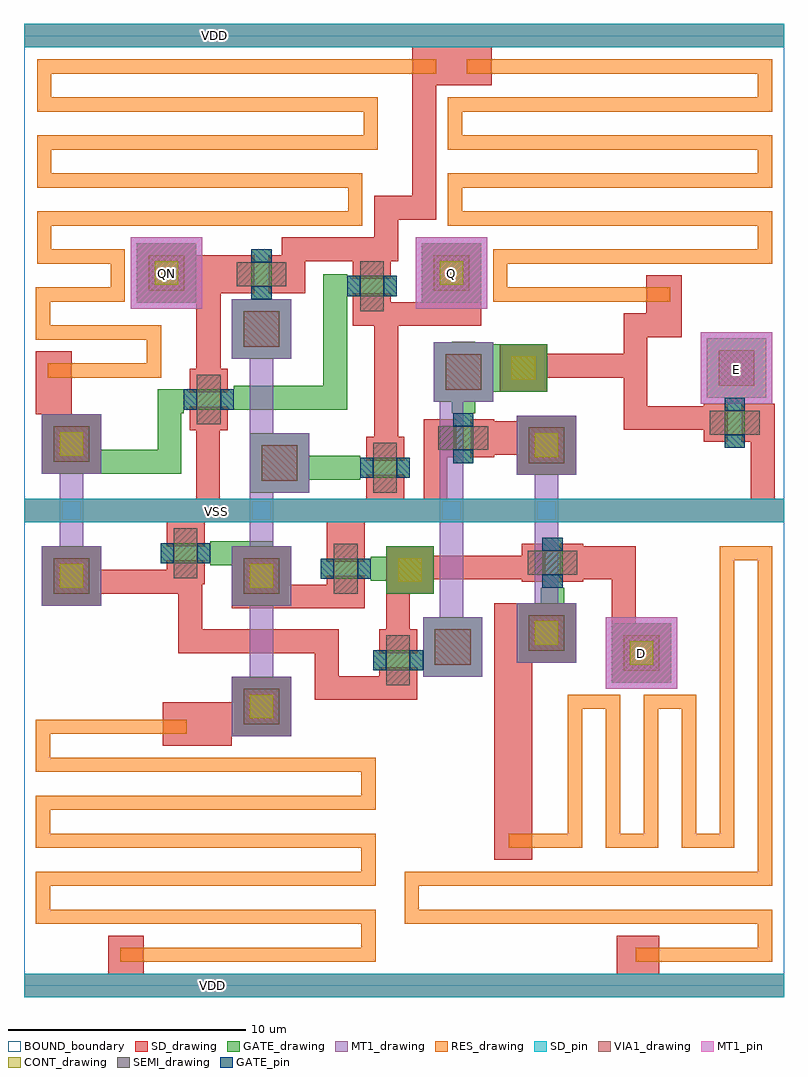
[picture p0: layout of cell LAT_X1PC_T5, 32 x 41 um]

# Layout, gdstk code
from math import pi, radians
import gdstk
lib = gdstk.Library(unit=1e-6, precision=1e-09)
def R(c, l, rs):  # rectangles x0, y0, x1, y1
    for r in rs: c.add(gdstk.rectangle(r[:2], r[2:], *l))
def A(c, l, x, y, w, h, nx, ny, dx, dy):  # array of equal rectangles
    R(c, l, [(x+i*dx, y+j*dy, x+i*dx+w, y+j*dy+h) for i in range(nx) for j in range(ny)])
def P(c, l, *ps):  # polygons
    for p in ps: c.add(gdstk.Polygon(p, *l))
RES_drawing = (1, 0)
SEMI_drawing = (3, 0)
SD_drawing = (10, 0)
SD_pin = (10, 3)
GATE_drawing = (11, 0)
GATE_pin = (11, 3)
MT1_drawing = (20, 0)
MT1_pin = (20, 3)
CONT_drawing = (30, 0)
VIA1_drawing = (41, 0)
BOUND_boundary = (150, 5)

nch_cdns_772544938720 = lib.new_cell('nch_CDNS_772544938720')
R(nch_cdns_772544938720, SEMI_drawing, [(-1.05,-0.5,1.05,0.5)])
R(nch_cdns_772544938720, SD_drawing, [(-1.3,-0.8,-0.3,0.8), (0.3,-0.8,1.3,0.8)])
R(nch_cdns_772544938720, GATE_drawing, [(-0.425,-1.05,0.425,1.05)])
R(nch_cdns_772544938720, GATE_pin, [(-0.425,-1.05,0.425,-0.5), (-0.425,0.5,0.425,1.05)])

sd_gate_cdns_77254493872 = lib.new_cell('SD_GATE_CDNS_772544938720')
R(sd_gate_cdns_77254493872, SD_drawing, [(-1.25,-1.25,1.25,1.25)])
R(sd_gate_cdns_77254493872, GATE_drawing, [(-1.25,-1.25,1.25,1.25)])
R(sd_gate_cdns_77254493872, CONT_drawing, [(-0.5,-0.5,0.5,0.5)])

gate_mt1_cdns_7725449387 = lib.new_cell('GATE_MT1_CDNS_772544938721')
R(gate_mt1_cdns_7725449387, GATE_drawing, [(-1.25,-1.25,1.25,1.25)])
R(gate_mt1_cdns_7725449387, MT1_drawing, [(-1.5,-1.5,1.5,1.5)])
R(gate_mt1_cdns_7725449387, VIA1_drawing, [(-0.75,-0.75,0.75,0.75)])

c_gate_mt1_cdns_7725449387 = lib.new_cell('GATE_MT1_CDNS_772544938722')
R(c_gate_mt1_cdns_7725449387, GATE_drawing, [(-1.25,-1.25,1.25,1.25)])
R(c_gate_mt1_cdns_7725449387, MT1_drawing, [(-1.25,-1.25,1.25,1.25)])
R(c_gate_mt1_cdns_7725449387, VIA1_drawing, [(-0.75,-0.75,0.75,0.75)])

c_sd_gate_cdns_77254493872 = lib.new_cell('SD_GATE_CDNS_772544938723')
R(c_sd_gate_cdns_77254493872, SD_drawing, [(-1,-1,1,1)])
R(c_sd_gate_cdns_77254493872, GATE_drawing, [(-1,-1,1,1)])
R(c_sd_gate_cdns_77254493872, CONT_drawing, [(-0.5,-0.5,0.5,0.5)])

gate_mt1_stack_cdns_7725 = lib.new_cell('GATE_MT1_STACK_CDNS_772544938724')
R(gate_mt1_stack_cdns_7725, GATE_drawing, [(-1.25,-1.25,1.25,1.25)])
R(gate_mt1_stack_cdns_7725, MT1_drawing, [(-1.25,-1.25,1.25,1.25)])
R(gate_mt1_stack_cdns_7725, VIA1_drawing, [(-0.75,-0.75,0.75,0.75)])

lat_x1pc_t5 = lib.new_cell('LAT_X1PC_T5')
A(lat_x1pc_t5, SD_drawing, 0, -0.5, 32, 1, 1, 3, 0, 20)
R(lat_x1pc_t5, SD_drawing, [(3.55,0.5,5.05,2.1), (24.95,0.5,26.75,2.1), (19.8,5.3,21.4,16.1), (5.85,10.1,8.75,11.925), (24.75,12.75,27.25,15.25), (20.75,13.6,23.25,16.1), (15.25,14.75,16.25,17.3), (8.75,15.875,14.35,16.875), (0.75,16,3.25,18.5), (15.25,17.1,20.95,18.1), (12.75,18.85,14.35,19.5), (7.25,20.5,8.25,23.375), (0.75,21.55,3.25,24.05), (0.5,24.05,2,26.7), (26.2,28.3,27.7,29.9), (16.35,37.9,17.85,39.5), (17.85,37.9,19.7,39.5)])
P(lat_x1pc_t5, SD_drawing, [(25.75,15.25),(25.75,18.5),(23.55,18.5),(23.55,17.1),(24.75,17.1),(24.75,15.25)],
  [(16.55,13.025),(13.25,13.025),(13.25,15),(7.5,15),(7.5,17.5),(2.1,17.5),(2.1,16.5),(6.5,16.5),(6.5,14),(12.25,14),(12.25,12.025),(16.55,12.025)],
  [(28.625,24.4),(26.25,24.4),(26.25,26.6),(20.025,26.6),(20.025,25.6),(25.25,25.6),(25.25,23.4),(28.625,23.4)],
  [(8.7,30.75),(7.25,30.75),(7.25,25.975),(8.275,25.975),(8.275,29.15),(8.7,29.15)])
A(lat_x1pc_t5, SD_pin, 0, -0.5, 32, 1, 1, 3, 0, 20)
R(lat_x1pc_t5, GATE_drawing, [(6.625,24.1,6.725,25.1), (8.825,24.25,9.05,25.25), (13.5,28.95,13.6,29.95)])
P(lat_x1pc_t5, GATE_drawing, [(16.9,13.175),(16.9,14.175),(16.8,14.175),(16.8,14.075),(16.75,14.075),(16.75,13.325),(16.8,13.325),(16.8,13.175)],
  [(9.475,28.8),(10.475,28.8),(10.475,28.9),(10.375,28.9),(10.375,28.95),(9.625,28.95),(9.625,28.9),(9.475,28.9)],
  [(19,24.2),(18,24.2),(18,24.1),(18.125,24.1),(18.125,24.05),(18.875,24.05),(18.875,24.1),(19,24.1)],
  [(21.75,16.65),(22.75,16.65),(22.75,16.75),(22.625,16.75),(22.625,16.8),(21.875,16.8),(21.875,16.75),(21.75,16.75)],
  [(14.7,17.05),(14.7,18.05),(14.6,18.05),(14.6,17.925),(14.55,17.925),(14.55,17.175),(14.6,17.175),(14.6,17.05)],
  [(7.95,17.7),(7.95,18.7),(7.85,18.7),(7.85,18.575),(7.8,18.575),(7.8,17.825),(7.85,17.825),(7.85,17.7)],
  [(14.05,22.3),(14.05,21.3),(14.15,21.3),(14.15,21.425),(14.2,21.425),(14.2,22.175),(14.15,22.175),(14.15,22.3)],
  [(30.45,24.85),(29.45,24.85),(29.45,24.75),(29.55,24.75),(29.55,24.7),(30.3,24.7),(30.3,24.75),(30.45,24.75)])
R(lat_x1pc_t5, MT1_drawing, [(24.5,12.5,27.5,15.5), (28.5,24.5,31.5,27.5), (4.5,28.5,7.5,31.5), (16.5,28.5,19.5,31.5)])
R(lat_x1pc_t5, MT1_pin, [(24.5,12.5,27.5,15.5), (28.5,24.5,31.5,27.5), (4.5,28.5,7.5,31.5), (16.5,28.5,19.5,31.5)])
R(lat_x1pc_t5, BOUND_boundary, [(0,0,32,40)])
lat_x1pc_t5.add(gdstk.FlexPath([(6.125,22.05),(6.125,25.1)], 1, ends=(0.5, 0), simple_path=True, layer=11, datatype=0))  # GATE_drawing
lat_x1pc_t5.add(gdstk.FlexPath([(21.025,26),(18.5,26)], 2, ends=(0, 0.5), simple_path=True, layer=11, datatype=0))  # GATE_drawing
lat_x1pc_t5.add(gdstk.FlexPath([(18.5,26.1),(18.5,26)], 1, ends=(1, 1), simple_path=True, layer=11, datatype=0))  # GATE_drawing
lat_x1pc_t5.add(gdstk.FlexPath([(13.1,29.45),(13.1,24.75)], 1, ends="extended", simple_path=True, layer=11, datatype=0))  # GATE_drawing
lat_x1pc_t5.add(gdstk.FlexPath([(13.1,24.75),(9.05,24.75)], 1, ends=(0.5, 0), simple_path=True, layer=11, datatype=0))  # GATE_drawing
lat_x1pc_t5.add(gdstk.FlexPath([(22.25,14.85),(22,14.85)], 1, ends=(0.5, 0), simple_path=True, layer=11, datatype=0))  # GATE_drawing
lat_x1pc_t5.add(gdstk.FlexPath([(14.7,17.55),(15.25,17.55)], 1, ends="flush", simple_path=True, layer=11, datatype=0))  # GATE_drawing
lat_x1pc_t5.add(gdstk.FlexPath([(7.95,18.2),(10,18.2)], 1, ends=(0, 0.5), simple_path=True, layer=11, datatype=0))  # GATE_drawing
lat_x1pc_t5.add(gdstk.FlexPath([(13.6,29.45),(13.1,29.45)], 1, ends=(0, 0.5), simple_path=True, layer=11, datatype=0))  # GATE_drawing
lat_x1pc_t5.add(gdstk.FlexPath([(2,22.05),(2,22.75)], 1, ends=(0.5, 0), simple_path=True, layer=11, datatype=0))  # GATE_drawing
lat_x1pc_t5.add(gdstk.FlexPath([(14.05,21.8),(10,21.8)], 1, ends=(0, 0.5), simple_path=True, layer=11, datatype=0))  # GATE_drawing
lat_x1pc_t5.add(gdstk.FlexPath([(18.5,25.3),(18.5,24.2)], 1, ends="flush", simple_path=True, layer=11, datatype=0))  # GATE_drawing
lat_x1pc_t5.add(gdstk.FlexPath([(18.5,26),(18.5,25.825)], 1, ends=(1, 1), simple_path=True, layer=11, datatype=0))  # GATE_drawing
lat_x1pc_t5.add(gdstk.FlexPath([(10,21.8),(10,21.875)], 1, ends=(0.5, 0), simple_path=True, layer=11, datatype=0))  # GATE_drawing
lat_x1pc_t5.add(gdstk.FlexPath([(10,18.2),(10,17.25)], 1, ends=(0.5, 0), simple_path=True, layer=11, datatype=0))  # GATE_drawing
lat_x1pc_t5.add(gdstk.FlexPath([(22.25,16.65),(22.25,14.85)], 1, ends=(0, 0.5), simple_path=True, layer=11, datatype=0))  # GATE_drawing
lat_x1pc_t5.add(gdstk.FlexPath([(6.125,22.05),(2,22.05)], 1, ends="extended", simple_path=True, layer=11, datatype=0))  # GATE_drawing
lat_x1pc_t5.add(gdstk.FlexPath([(11.35,31),(11.35,29.15)], 1, ends=(0.5, 0), simple_path=True, layer=10, datatype=0))  # SD_drawing
lat_x1pc_t5.add(gdstk.FlexPath([(31.1,24.5),(31.1,20.5)], 1, ends="flush", simple_path=True, layer=10, datatype=0))  # SD_drawing
lat_x1pc_t5.add(gdstk.FlexPath([(25.75,26.05),(25.75,27.8)], 1, ends=(0, 0.5), simple_path=True, layer=10, datatype=0))  # SD_drawing
lat_x1pc_t5.add(gdstk.FlexPath([(17.325,23.85),(17.325,20.5)], 1, ends="flush", simple_path=True, layer=10, datatype=0))  # SD_drawing
lat_x1pc_t5.add(gdstk.FlexPath([(19.8,23.05),(22,23.05)], 1.4, ends=(0, 0.7), simple_path=True, layer=10, datatype=0))  # SD_drawing
lat_x1pc_t5.add(gdstk.FlexPath([(25.75,27.8),(27.7,27.8)], 1, ends=(0.5, 0), simple_path=True, layer=10, datatype=0))  # SD_drawing
lat_x1pc_t5.add(gdstk.FlexPath([(15.25,22.15),(15.25,28.275)], 1, ends=(0, 0.5), simple_path=True, layer=10, datatype=0))  # SD_drawing
lat_x1pc_t5.add(gdstk.FlexPath([(15.25,28.275),(18.75,28.275)], 1, ends="extended", simple_path=True, layer=10, datatype=0))  # SD_drawing
lat_x1pc_t5.add(gdstk.FlexPath([(15.25,28.275),(15.25,28.775)], 1, ends=(0.5, 0), simple_path=True, layer=10, datatype=0))  # SD_drawing
lat_x1pc_t5.add(gdstk.FlexPath([(22,23.05),(22,22.75)], 1.4, ends=(0.7, 0), simple_path=True, layer=10, datatype=0))  # SD_drawing
lat_x1pc_t5.add(gdstk.FlexPath([(13.85,28.275),(15.25,28.275)], 1, ends=(0, 0.5), simple_path=True, layer=10, datatype=0))  # SD_drawing
lat_x1pc_t5.add(gdstk.FlexPath([(18.75,28.275),(18.75,29.925)], 1, ends=(0.5, 0), simple_path=True, layer=10, datatype=0))  # SD_drawing
lat_x1pc_t5.add(gdstk.FlexPath([(16.85,32.75),(16.85,40)], 1, ends=(0.5, 0), simple_path=True, layer=10, datatype=0))  # SD_drawing
lat_x1pc_t5.add(gdstk.FlexPath([(14.95,31),(11.35,31)], 1, ends="extended", simple_path=True, layer=10, datatype=0))  # SD_drawing
lat_x1pc_t5.add(gdstk.FlexPath([(15.25,30.5),(15.25,32.75)], 1, ends=(0, 0.5), simple_path=True, layer=10, datatype=0))  # SD_drawing
lat_x1pc_t5.add(gdstk.FlexPath([(15.25,32.75),(16.85,32.75)], 1, ends="extended", simple_path=True, layer=10, datatype=0))  # SD_drawing
lat_x1pc_t5.add(gdstk.FlexPath([(22,15.35),(22,22.25)], 1, ends="flush", simple_path=True, layer=20, datatype=0))  # MT1_drawing
lat_x1pc_t5.add(gdstk.FlexPath([(18,26.6),(18,14.95)], 1, ends="flush", simple_path=True, layer=20, datatype=0))  # MT1_drawing
lat_x1pc_t5.add(gdstk.FlexPath([(10,27.7),(10,11)], 1, ends="flush", simple_path=True, layer=20, datatype=0))  # MT1_drawing
lat_x1pc_t5.add(gdstk.FlexPath([(2,17.25),(2,22.8)], 1, ends="flush", simple_path=True, layer=20, datatype=0))  # MT1_drawing
lat_x1pc_t5.add(gdstk.FlexPath([(17.35,38.7),(0.85,38.7),(0.85,37.1),(14.6,37.1),(14.6,35.5),(0.85,35.5),(0.85,33.9),(13.95,33.9),(13.95,32.3),(0.85,32.3),(0.85,30.7),(3.95,30.7),(3.95,29.1),(0.8,29.1),(0.8,27.5),(5.475,27.5),(5.475,25.9),(1,25.9)], 0.6, ends="flush", simple_path=True, layer=1, datatype=0))  # RES_drawing
lat_x1pc_t5.add(gdstk.FlexPath([(19.65,38.7),(31.2,38.7),(31.2,37.1),(18.15,37.1),(18.15,35.5),(31.2,35.5),(31.2,33.9),(18.15,33.9),(18.15,32.3),(31.2,32.3),(31.2,30.7),(20.05,30.7),(20.05,29.1),(27.2,29.1)], 0.6, ends=(1, 0), simple_path=True, layer=1, datatype=0))  # RES_drawing
lat_x1pc_t5.add(gdstk.FlexPath([(5.85,10.9),(0.8,10.9),(0.8,9.3),(14.5,9.3),(14.5,7.7),(0.8,7.7),(0.8,6.1),(14.5,6.1),(14.5,4.5),(0.8,4.5),(0.8,2.9),(14.5,2.9),(14.5,1.3),(5.05,1.3)], 0.6, ends=(1, 1), simple_path=True, layer=1, datatype=0))  # RES_drawing
lat_x1pc_t5.add(gdstk.FlexPath([(20.4,6.1),(23.2,6.1),(23.2,11.95),(24.8,11.95),(24.8,6.1),(26.4,6.1),(26.4,11.95),(28,11.95),(28,6.1),(29.6,6.1),(29.6,18.2),(31.2,18.2),(31.2,4.5),(16.325,4.5),(16.325,2.9),(31.2,2.9),(31.2,1.3),(25.75,1.3)], 0.6, ends="flush", simple_path=True, layer=1, datatype=0))  # RES_drawing
lat_x1pc_t5.add(gdstk.Reference(nch_cdns_772544938720, (10,29.95)))
lat_x1pc_t5.add(gdstk.Reference(nch_cdns_772544938720, (14.65,29.45), rotation=pi/2))
lat_x1pc_t5.add(gdstk.Reference(nch_cdns_772544938720, (7.775,24.675), rotation=pi/2))
lat_x1pc_t5.add(gdstk.Reference(nch_cdns_772544938720, (15.2,21.8), rotation=pi/2))
lat_x1pc_t5.add(gdstk.Reference(nch_cdns_772544938720, (22.25,17.8)))
lat_x1pc_t5.add(gdstk.Reference(nch_cdns_772544938720, (13.55,17.55), rotation=3*pi/2))
lat_x1pc_t5.add(gdstk.Reference(nch_cdns_772544938720, (15.75,13.7), rotation=pi/2))
lat_x1pc_t5.add(gdstk.Reference(nch_cdns_772544938720, (6.8,18.2), rotation=3*pi/2))
lat_x1pc_t5.add(gdstk.Reference(nch_cdns_772544938720, (18.5,23.05)))
lat_x1pc_t5.add(gdstk.Reference(nch_cdns_772544938720, (29.925,23.7), rotation=pi, x_reflection=True))
lat_x1pc_t5.add(gdstk.Reference(sd_gate_cdns_77254493872, (22,22.75), rotation=pi, x_reflection=True))
lat_x1pc_t5.add(gdstk.Reference(sd_gate_cdns_77254493872, (22,22.75), rotation=pi, x_reflection=True))
lat_x1pc_t5.add(gdstk.Reference(sd_gate_cdns_77254493872, (22,22.75), rotation=pi, x_reflection=True))
lat_x1pc_t5.add(gdstk.Reference(sd_gate_cdns_77254493872, (22,22.75), rotation=pi, x_reflection=True))
lat_x1pc_t5.add(gdstk.Reference(sd_gate_cdns_77254493872, (22,22.75), rotation=pi, x_reflection=True))
lat_x1pc_t5.add(gdstk.Reference(sd_gate_cdns_77254493872, (10,17.25)))
lat_x1pc_t5.add(gdstk.Reference(sd_gate_cdns_77254493872, (10,17.25)))
lat_x1pc_t5.add(gdstk.Reference(sd_gate_cdns_77254493872, (10,17.25)))
lat_x1pc_t5.add(gdstk.Reference(sd_gate_cdns_77254493872, (10,17.25)))
lat_x1pc_t5.add(gdstk.Reference(sd_gate_cdns_77254493872, (10,17.25)))
lat_x1pc_t5.add(gdstk.Reference(sd_gate_cdns_77254493872, (10,11.75)))
lat_x1pc_t5.add(gdstk.Reference(sd_gate_cdns_77254493872, (10,11.75)))
lat_x1pc_t5.add(gdstk.Reference(sd_gate_cdns_77254493872, (10,11.75)))
lat_x1pc_t5.add(gdstk.Reference(sd_gate_cdns_77254493872, (10,11.75)))
lat_x1pc_t5.add(gdstk.Reference(sd_gate_cdns_77254493872, (10,11.75)))
lat_x1pc_t5.add(gdstk.Reference(sd_gate_cdns_77254493872, (6,30), rotation=pi, x_reflection=True))
lat_x1pc_t5.add(gdstk.Reference(sd_gate_cdns_77254493872, (18,30), rotation=pi, x_reflection=True))
lat_x1pc_t5.add(gdstk.Reference(gate_mt1_cdns_7725449387, (6,30), rotation=pi, x_reflection=True))
lat_x1pc_t5.add(gdstk.Reference(gate_mt1_cdns_7725449387, (18,30), rotation=pi, x_reflection=True))
lat_x1pc_t5.add(gdstk.Reference(c_gate_mt1_cdns_7725449387, (30,26)))
lat_x1pc_t5.add(gdstk.Reference(c_gate_mt1_cdns_7725449387, (26,14)))
lat_x1pc_t5.add(gdstk.Reference(c_gate_mt1_cdns_7725449387, (18.5,25.825)))
lat_x1pc_t5.add(gdstk.Reference(c_gate_mt1_cdns_7725449387, (22,14.85)))
lat_x1pc_t5.add(gdstk.Reference(c_gate_mt1_cdns_7725449387, (22,14.85)))
lat_x1pc_t5.add(gdstk.Reference(c_gate_mt1_cdns_7725449387, (22,14.85)))
lat_x1pc_t5.add(gdstk.Reference(c_gate_mt1_cdns_7725449387, (22,14.85)))
lat_x1pc_t5.add(gdstk.Reference(c_gate_mt1_cdns_7725449387, (22,14.85)))
lat_x1pc_t5.add(gdstk.Reference(c_gate_mt1_cdns_7725449387, (18.05,14.25)))
lat_x1pc_t5.add(gdstk.Reference(c_gate_mt1_cdns_7725449387, (22,22.75), rotation=pi, x_reflection=True))
lat_x1pc_t5.add(gdstk.Reference(c_gate_mt1_cdns_7725449387, (22,22.75), rotation=pi, x_reflection=True))
lat_x1pc_t5.add(gdstk.Reference(c_gate_mt1_cdns_7725449387, (22,22.75), rotation=pi, x_reflection=True))
lat_x1pc_t5.add(gdstk.Reference(c_gate_mt1_cdns_7725449387, (22,22.75), rotation=pi, x_reflection=True))
lat_x1pc_t5.add(gdstk.Reference(c_gate_mt1_cdns_7725449387, (22,22.75), rotation=pi, x_reflection=True))
lat_x1pc_t5.add(gdstk.Reference(c_gate_mt1_cdns_7725449387, (10,17.25)))
lat_x1pc_t5.add(gdstk.Reference(c_gate_mt1_cdns_7725449387, (10,17.25)))
lat_x1pc_t5.add(gdstk.Reference(c_gate_mt1_cdns_7725449387, (10,17.25)))
lat_x1pc_t5.add(gdstk.Reference(c_gate_mt1_cdns_7725449387, (10,17.25)))
lat_x1pc_t5.add(gdstk.Reference(c_gate_mt1_cdns_7725449387, (10,17.25)))
lat_x1pc_t5.add(gdstk.Reference(c_gate_mt1_cdns_7725449387, (10,11.75)))
lat_x1pc_t5.add(gdstk.Reference(c_gate_mt1_cdns_7725449387, (10,11.75)))
lat_x1pc_t5.add(gdstk.Reference(c_gate_mt1_cdns_7725449387, (10,11.75)))
lat_x1pc_t5.add(gdstk.Reference(c_gate_mt1_cdns_7725449387, (10,11.75)))
lat_x1pc_t5.add(gdstk.Reference(c_gate_mt1_cdns_7725449387, (10,11.75)))
lat_x1pc_t5.add(gdstk.Reference(c_gate_mt1_cdns_7725449387, (2,22.8)))
lat_x1pc_t5.add(gdstk.Reference(c_gate_mt1_cdns_7725449387, (2,17.25)))
lat_x1pc_t5.add(gdstk.Reference(c_gate_mt1_cdns_7725449387, (10,27.65)))
lat_x1pc_t5.add(gdstk.Reference(c_gate_mt1_cdns_7725449387, (10,27.65)))
lat_x1pc_t5.add(gdstk.Reference(c_gate_mt1_cdns_7725449387, (10,27.65)))
lat_x1pc_t5.add(gdstk.Reference(c_gate_mt1_cdns_7725449387, (10,27.65)))
lat_x1pc_t5.add(gdstk.Reference(c_gate_mt1_cdns_7725449387, (10,27.65)))
lat_x1pc_t5.add(gdstk.Reference(c_sd_gate_cdns_77254493872, (16.25,17.5)))
lat_x1pc_t5.add(gdstk.Reference(c_sd_gate_cdns_77254493872, (16.25,17.5)))
lat_x1pc_t5.add(gdstk.Reference(c_sd_gate_cdns_77254493872, (16.25,17.5)))
lat_x1pc_t5.add(gdstk.Reference(c_sd_gate_cdns_77254493872, (16.25,17.5)))
lat_x1pc_t5.add(gdstk.Reference(c_sd_gate_cdns_77254493872, (16.25,17.5)))
lat_x1pc_t5.add(gdstk.Reference(c_sd_gate_cdns_77254493872, (26,14)))
lat_x1pc_t5.add(gdstk.Reference(c_sd_gate_cdns_77254493872, (21.025,26)))
lat_x1pc_t5.add(gdstk.Reference(c_sd_gate_cdns_77254493872, (22,14.85)))
lat_x1pc_t5.add(gdstk.Reference(c_sd_gate_cdns_77254493872, (2,22.8)))
lat_x1pc_t5.add(gdstk.Reference(c_sd_gate_cdns_77254493872, (2,17.25)))
lat_x1pc_t5.add(gdstk.Reference(gate_mt1_stack_cdns_7725, (10.75,22)))
lat_x1pc_t5.add(gdstk.Reference(gate_mt1_stack_cdns_7725, (10.75,22)))
lat_x1pc_t5.add(gdstk.Reference(gate_mt1_stack_cdns_7725, (10.75,22)))
lat_x1pc_t5.add(gdstk.Reference(gate_mt1_stack_cdns_7725, (10.75,22)))
lat_x1pc_t5.add(gdstk.Reference(gate_mt1_stack_cdns_7725, (10.75,22)))
lat_x1pc_t5.add(gdstk.Label('D', (26,14), layer=20, texttype=3))
lat_x1pc_t5.add(gdstk.Label('D', (26,14), layer=20, texttype=3))
lat_x1pc_t5.add(gdstk.Label('E', (30,25.95), layer=20, texttype=3))
lat_x1pc_t5.add(gdstk.Label('QN', (6,30), layer=20, texttype=3))
lat_x1pc_t5.add(gdstk.Label('Q', (18,30), layer=20, texttype=3))
lat_x1pc_t5.add(gdstk.Label('VDD', (7.95,0), layer=10, texttype=3))
lat_x1pc_t5.add(gdstk.Label('VSS', (8.1,19.95), layer=10, texttype=3))
lat_x1pc_t5.add(gdstk.Label('VDD', (8,40), layer=10, texttype=3))

lib.write_gds('LAT_X1PC_T5.gds')
